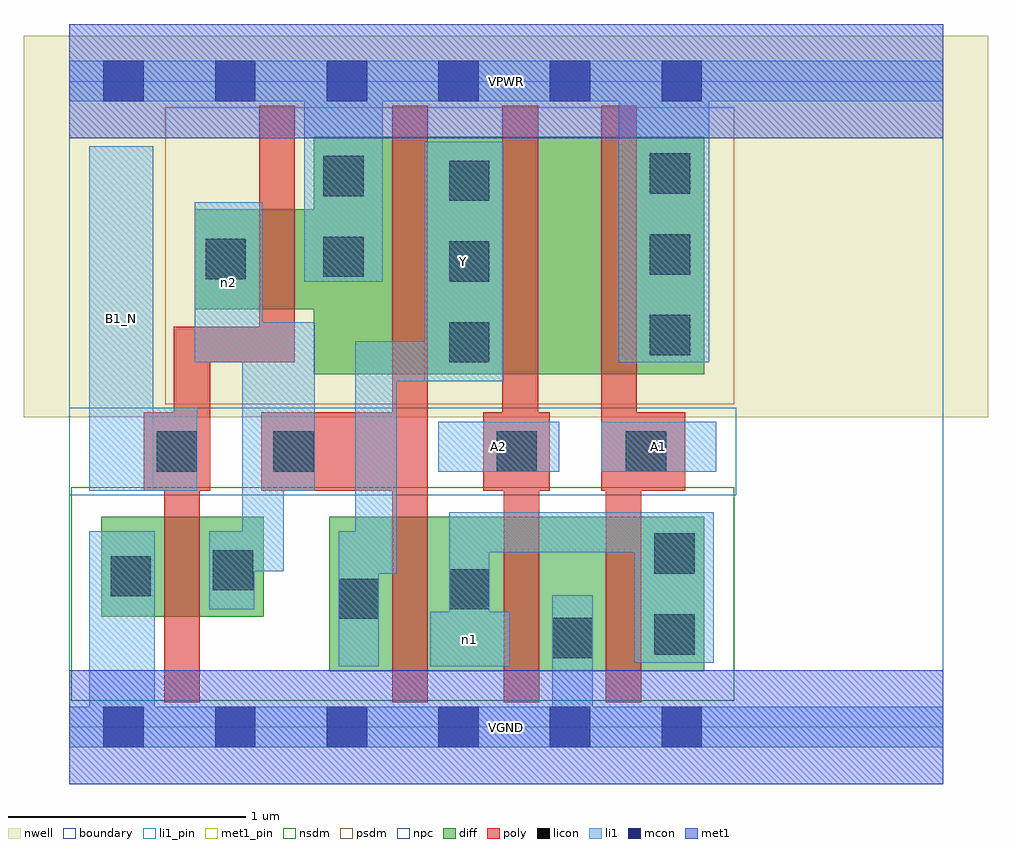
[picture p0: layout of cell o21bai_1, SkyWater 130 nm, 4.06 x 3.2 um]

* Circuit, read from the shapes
.subckt o21bai_1 A1 A2 B1_N VGND VPWR Y n1 n2
XM1 n2 B1_N VGND VSUBS sky130_fd_pr__nfet_01v8 w=0.42 l=0.15
XM2 n1 n2 Y VSUBS sky130_fd_pr__nfet_01v8 w=0.65 l=0.15
XM3 VGND A2 n1 VSUBS sky130_fd_pr__nfet_01v8 w=0.65 l=0.15
XM4 n1 A1 VGND VSUBS sky130_fd_pr__nfet_01v8 w=0.65 l=0.15
XM5 VPWR B1_N n2 n3 sky130_fd_pr__pfet_01v8 w=0.42 l=0.15
XM6 Y n2 VPWR n3 sky130_fd_pr__pfet_01v8 w=1 l=0.15
XM7 n4 A2 Y n3 sky130_fd_pr__pfet_01v8 w=1 l=0.15
XM8 VPWR A1 n4 n3 sky130_fd_pr__pfet_01v8 w=1 l=0.15
.ends

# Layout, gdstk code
import gdstk
lib = gdstk.Library(unit=1e-6, precision=1e-09)
def R(c, l, rs):  # rectangles x0, y0, x1, y1
    for r in rs: c.add(gdstk.rectangle(r[:2], r[2:], *l))
def A(c, l, x, y, w, h, nx, ny, dx, dy):  # array of equal rectangles
    R(c, l, [(x+i*dx, y+j*dy, x+i*dx+w, y+j*dy+h) for i in range(nx) for j in range(ny)])
nwell = (64, 20)
diff = (65, 20)
poly = (66, 20)
licon = (66, 44)
li1_pin = (67, 16)
li1 = (67, 20)
mcon = (67, 44)
met1_pin = (68, 16)
met1 = (68, 20)
nsdm = (93, 44)
psdm = (94, 20)
npc = (95, 20)
boundary = (235, 4)

o21bai_1 = lib.new_cell('o21bai_1')
R(o21bai_1, nwell, [(-0.19,1.305,3.87,2.91), (0,1.305,3.68,2.91)])
R(o21bai_1, diff, [(1.095,0.235,2.675,0.885), (0.135,0.465,0.82,0.885), (1.03,1.485,2.675,2.485), (0.53,1.76,2.675,2.18)])
R(o21bai_1, poly, [(0.4,0.105,0.55,1.325), (1.36,0.105,1.51,2.615), (1.83,0.105,1.98,1.325), (2.26,0.105,2.41,1.325), (0.315,0.995,0.595,1.325), (0.44,0.995,0.595,1.685), (0.81,0.995,1.51,1.325), (1.745,0.995,2.025,1.325), (1.825,0.995,1.975,2.615), (2.24,0.995,2.39,2.615), (2.24,0.995,2.595,1.325), (0.44,1.535,0.95,1.685), (0.8,1.535,0.95,2.615)])
A(o21bai_1, licon, 1.6, 1.535, 0.17, 0.17, 1, 3, 0, 0.34)
A(o21bai_1, licon, 2.445, 1.565, 0.17, 0.17, 1, 3, 0, 0.34)
R(o21bai_1, licon, [(2.035,0.29,2.205,0.46), (2.465,0.305,2.635,0.475), (1.135,0.455,1.305,0.625), (1.6,0.495,1.77,0.665), (0.175,0.55,0.345,0.72), (0.605,0.575,0.775,0.745), (2.465,0.645,2.635,0.815), (0.37,1.075,0.54,1.245), (0.86,1.075,1.03,1.245), (1.8,1.075,1.97,1.245), (2.345,1.075,2.515,1.245), (0.575,1.885,0.745,2.055), (1.07,1.895,1.24,2.065), (1.07,2.235,1.24,2.405)])
R(o21bai_1, li1_pin, [(0.085,0.995,0.355,2.445), (1.555,1.075,2.065,1.285), (2.24,1.075,2.725,1.285), (1.495,1.455,1.83,2.465)])
R(o21bai_1, li1, [(0,-0.085,3.68,0.085), (0.085,-0.085,0.36,0.825), (2.035,-0.085,2.205,0.555), (1.135,0.255,1.305,0.825), (1.52,0.255,1.855,0.485), (1.6,0.255,1.77,0.905), (2.38,0.27,2.715,0.905), (0.59,0.495,0.78,0.825), (1.205,0.645,1.38,1.625), (0.73,0.655,0.905,1.705), (1.6,0.735,2.715,0.905), (0.085,0.995,0.355,2.445), (0.085,0.995,0.54,1.345), (0.905,0.995,1.035,1.705), (1.555,1.075,2.065,1.285), (2.24,1.075,2.725,1.285), (1.205,1.455,1.83,1.625), (1.495,1.455,1.83,2.465), (0.53,1.535,0.815,2.21), (2.315,1.535,2.695,2.805), (0.99,1.875,1.32,2.805), (0,2.635,3.68,2.805)])
A(o21bai_1, mcon, 0.145, -0.085, 0.17, 0.17, 6, 2, 0.47, 2.72)
R(o21bai_1, met1_pin, [(0,-0.24,3.68,0.24), (0,2.48,3.68,2.96)])
R(o21bai_1, met1, [(0,-0.24,3.68,0.24), (0,2.48,3.68,2.96)])
R(o21bai_1, nsdm, [(0.01,0.11,2.8,1.01)])
R(o21bai_1, psdm, [(0.405,1.36,2.8,2.61)])
R(o21bai_1, npc, [(0,0.975,2.81,1.345)])
R(o21bai_1, boundary, [(0,0,3.68,2.72)])
o21bai_1.add(gdstk.Label('A1', (2.482,1.18), layer=67, texttype=5))
o21bai_1.add(gdstk.Label('A2', (1.81,1.18), layer=67, texttype=5))
o21bai_1.add(gdstk.Label('B1_N', (0.22,1.72), layer=67, texttype=5))
o21bai_1.add(gdstk.Label('Y', (1.662,1.96), layer=67, texttype=5))
o21bai_1.add(gdstk.Label('n1', (1.687,0.37), layer=67, texttype=5))
o21bai_1.add(gdstk.Label('n2', (0.672,1.872), layer=67, texttype=5))
o21bai_1.add(gdstk.Label('VPWR', (1.84,2.72), layer=68, texttype=5))
o21bai_1.add(gdstk.Label('VGND', (1.84,0), layer=68, texttype=5))
o21bai_1.add(gdstk.Label('A1', (2.482,1.18), layer=67, texttype=16))
o21bai_1.add(gdstk.Label('A2', (1.81,1.18), layer=67, texttype=16))
o21bai_1.add(gdstk.Label('B1_N', (0.22,1.72), layer=67, texttype=16))
o21bai_1.add(gdstk.Label('Y', (1.662,1.96), layer=67, texttype=16))
o21bai_1.add(gdstk.Label('VPWR', (1.84,2.72), layer=68, texttype=16))
o21bai_1.add(gdstk.Label('VGND', (1.84,0), layer=68, texttype=16))

lib.write_gds('o21bai_1.gds')
